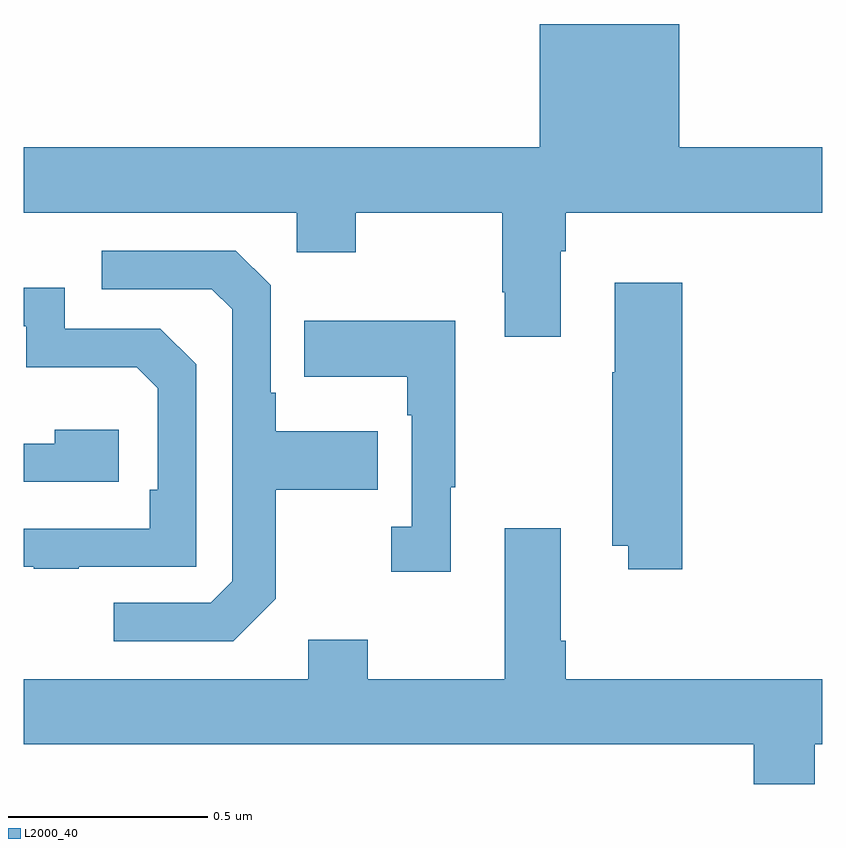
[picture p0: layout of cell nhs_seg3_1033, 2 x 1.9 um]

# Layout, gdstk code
import gdstk
lib = gdstk.Library(unit=1e-6, precision=1e-09)
def P(c, l, *ps):  # polygons
    for p in ps: c.add(gdstk.Polygon(p, *l))
L2000_40 = (2000, 40)

nhs_seg3_1033 = lib.new_cell('nhs_seg3_1033')
P(nhs_seg3_1033, L2000_40, [(124.345,728.792),(124.358,728.792),(124.358,728.888),(125,728.888),(125,729.052),(124.642,729.052),(124.642,729.361),(124.292,729.361),(124.292,729.052),(123,729.052),(123,728.888),(123.684,728.888),(123.684,728.789),(123.831,728.789),(123.831,728.888),(124.198,728.888),(124.198,728.689),(124.205,728.689),(124.205,728.577),(124.345,728.577)],
  [(123.631,727.921),(123.631,728.194),(123.887,728.194),(123.887,728.341),(123.631,728.341),(123.631,728.437),(123.618,728.437),(123.618,728.706),(123.531,728.793),(123.195,728.793),(123.195,728.697),(123.471,728.697),(123.522,728.646),(123.522,727.965),(123.468,727.911),(123.225,727.911),(123.225,727.815),(123.525,727.815)],
  [(124.649,728.713),(124.481,728.713),(124.481,728.489),(124.474,728.489),(124.474,728.054),(124.514,728.054),(124.514,727.995),(124.649,727.995)],
  [(123.137,728.001),(123.432,728.001),(123.432,728.508),(123.342,728.598),(123.102,728.598),(123.102,728.7),(123,728.7),(123,728.604),(123.006,728.604),(123.006,728.501),(123.283,728.501),(123.336,728.448),(123.336,728.194),(123.316,728.194),(123.316,728.097),(123,728.097),(123,728.001),(123.025,728.001),(123.025,727.996),(123.137,727.996)],
  [(124.069,728.201),(124.081,728.201),(124.081,728.617),(123.703,728.617),(123.703,728.477),(123.96,728.477),(123.96,728.381),(123.972,728.381),(123.972,728.102),(123.921,728.102),(123.921,727.989),(124.069,727.989)],
  [(123.238,728.344),(123.077,728.344),(123.077,728.31),(123,728.31),(123,728.214),(123.238,728.214)],
  [(124.981,727.556),(125,727.556),(125,727.72),(124.358,727.72),(124.358,727.816),(124.345,727.816),(124.345,728.098),(124.205,728.098),(124.205,727.72),(123.861,727.72),(123.861,727.819),(123.713,727.819),(123.713,727.72),(123,727.72),(123,727.556),(124.829,727.556),(124.829,727.457),(124.981,727.457)])

lib.write_gds('nhs_seg3_1033.gds')
